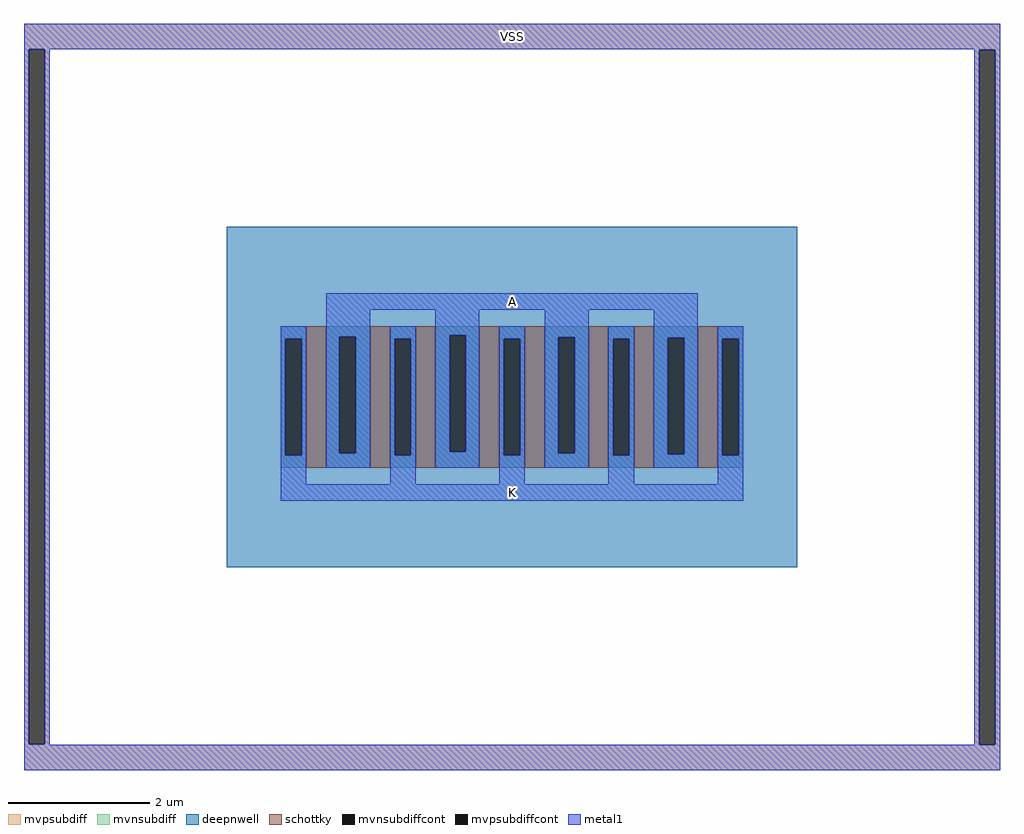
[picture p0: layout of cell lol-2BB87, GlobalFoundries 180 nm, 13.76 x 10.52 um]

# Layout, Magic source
magic
tech gf180mcuD
magscale 1 10
<< deepnwell >>
rect -1422 -668 186 292
<< mvpsubdiff >>
rect -1994 792 758 864
rect -1994 -1167 -1981 792
rect -1935 -1167 -1922 792
rect 686 791 758 792
rect -1994 -1168 -1922 -1167
rect 686 -1168 699 791
rect 745 -1168 758 791
rect -1994 -1240 758 -1168
<< mvnsubdiff >>
rect -1270 -24 -1198 12
rect -1270 -352 -1257 -24
rect -1211 -352 -1198 -24
rect -1270 -388 -1198 -352
rect -1142 -18 -1018 12
rect -1142 -346 -1105 -18
rect -1059 -346 -1018 -18
rect -1142 -388 -1018 -346
rect -962 -24 -890 12
rect -962 -352 -949 -24
rect -903 -352 -890 -24
rect -962 -388 -890 -352
rect -834 -14 -710 12
rect -834 -342 -794 -14
rect -748 -342 -710 -14
rect -834 -388 -710 -342
rect -654 -24 -582 12
rect -654 -352 -641 -24
rect -595 -352 -582 -24
rect -654 -388 -582 -352
rect -526 -19 -402 12
rect -526 -347 -487 -19
rect -441 -347 -402 -19
rect -526 -388 -402 -347
rect -346 -24 -274 12
rect -346 -352 -333 -24
rect -287 -352 -274 -24
rect -346 -388 -274 -352
rect -218 -21 -94 12
rect -218 -349 -179 -21
rect -133 -349 -94 -21
rect -218 -388 -94 -349
rect -38 -24 34 12
rect -38 -352 -25 -24
rect 21 -352 34 -24
rect -38 -388 34 -352
<< mvpsubdiffcont >>
rect -1981 -1167 -1935 792
rect 699 -1168 745 791
<< mvnsubdiffcont >>
rect -1257 -352 -1211 -24
rect -1105 -346 -1059 -18
rect -949 -352 -903 -24
rect -794 -342 -748 -14
rect -641 -352 -595 -24
rect -487 -347 -441 -19
rect -333 -352 -287 -24
rect -179 -349 -133 -21
rect -25 -352 21 -24
<< schottky >>
rect -1198 -388 -1142 12
rect -1018 -388 -962 12
rect -890 -388 -834 12
rect -710 -388 -654 12
rect -582 -388 -526 12
rect -402 -388 -346 12
rect -274 -388 -218 12
rect -94 -388 -38 12
<< metal1 >>
rect -1994 792 758 864
rect -1994 -1167 -1981 792
rect -1935 -1167 -1922 792
rect 686 791 758 792
rect -1142 58 -94 104
rect -1270 -24 -1198 12
rect -1270 -352 -1257 -24
rect -1211 -352 -1198 -24
rect -1270 -434 -1198 -352
rect -1142 -18 -1018 58
rect -1142 -346 -1105 -18
rect -1059 -346 -1018 -18
rect -1142 -388 -1018 -346
rect -962 -24 -890 12
rect -962 -352 -949 -24
rect -903 -352 -890 -24
rect -962 -434 -890 -352
rect -834 -14 -710 58
rect -834 -342 -794 -14
rect -748 -342 -710 -14
rect -834 -388 -710 -342
rect -654 -24 -582 12
rect -654 -352 -641 -24
rect -595 -352 -582 -24
rect -654 -434 -582 -352
rect -526 -19 -402 58
rect -526 -347 -487 -19
rect -441 -347 -402 -19
rect -526 -388 -402 -347
rect -346 -24 -274 12
rect -346 -352 -333 -24
rect -287 -352 -274 -24
rect -346 -434 -274 -352
rect -218 -21 -94 58
rect -218 -349 -179 -21
rect -133 -349 -94 -21
rect -218 -388 -94 -349
rect -38 -24 34 12
rect -38 -352 -25 -24
rect 21 -352 34 -24
rect -38 -434 34 -352
rect -1270 -480 34 -434
rect -1994 -1168 -1922 -1167
rect 686 -1168 699 791
rect 745 -1168 758 791
rect -1994 -1240 758 -1168
<< labels >>
flabel metal1 -1142 58 -94 104 0 FreeSans 200 0 0 0 A
port 2 nsew signal bidirectional
flabel metal1 -1270 -480 34 -434 0 FreeSans 200 0 0 0 K
port 3 nsew signal bidirectional
flabel metal1 -1994 792 758 864 0 FreeSans 400 0 0 0 VSS
port 1 nsew ground bidirectional abutment
<< end >>
